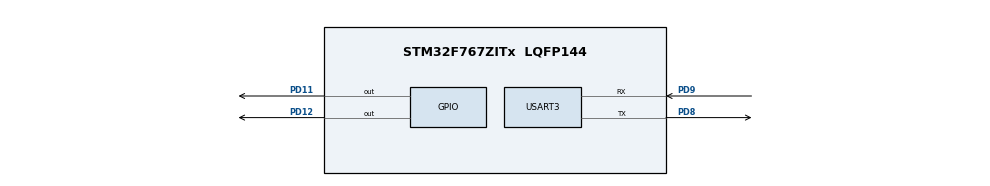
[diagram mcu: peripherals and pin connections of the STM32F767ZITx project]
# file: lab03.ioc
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CORTEX_M7.default_mode_Activation=1
Mcu.Family=STM32F7
Mcu.Name=STM32F767ZITx
Mcu.Package=LQFP144
NVIC.PriorityGroup=NVIC_PRIORITYGROUP_4
PD11.Signal=GPIO_Output
PD12.Signal=GPIO_Output
PD8.Mode=Asynchronous
PD8.Signal=USART3_TX
PD9.Mode=Asynchronous
PD9.Signal=USART3_RX
ProjectManager.HeapSize=0x200
ProjectManager.StackSize=0x400
ProjectManager.TargetToolchain=STM32CubeIDE
RCC.HSE_VALUE=25000000
RCC.HSI_VALUE=16000000
RCC.LSE_VALUE=32768
RCC.USBFreq_Value=96000000
RCC.VCOOutputFreq_Value=192000000
USART3.VirtualMode-Asynchronous=VM_ASYNC
board=custom

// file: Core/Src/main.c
/* USER CODE BEGIN Header */
/**
  ******************************************************************************
  * @file           : main.c
  * @brief          : Main program body
  ******************************************************************************
  * @attention
  *
  * Copyright (c) 2025 STMicroelectronics.
  * All rights reserved.
  *
  * This software is licensed under terms that can be found in the LICENSE file
  * in the root directory of this software component.
  * If no LICENSE file comes with this software, it is provided AS-IS.
  *
  ******************************************************************************
  */
/* USER CODE END Header */
#include "main.h"

/* USER CODE BEGIN Includes */
#include "string.h"
/* USER CODE END Includes */

UART_HandleTypeDef huart3;

/* USER CODE BEGIN PV */
uint8_t isFirst = 0;
uint8_t isFinish = 0;
/* USER CODE END PV */

void SystemClock_Config(void);
static void MPU_Config(void);
static void MX_GPIO_Init(void);
static void MX_USART3_UART_Init(void);

int main(void)
{

  /* MPU Configuration--------------------------------------------------------*/
  MPU_Config();

  /* MCU Configuration--------------------------------------------------------*/

  /* Reset of all peripherals, Initializes the Flash interface and the Systick. */
  HAL_Init();

  /* Configure the system clock */
  SystemClock_Config();

  /* Initialize all configured peripherals */
  MX_GPIO_Init();
  MX_USART3_UART_Init();
  /* USER CODE BEGIN 2 */
  void Init()
  {
  	char title[] = "Display Blinking LED PRESS (1, 2)\r\nDisplay Group Members PRESS m\r\nQuit PRESS q\r\n";
  	while(__HAL_UART_GET_FLAG(&huart3, UART_FLAG_TC)==RESET){}
  	HAL_UART_Transmit(&huart3, (uint8_t *)title, strlen(title), 100);
  }

  void WaitToRecieve(char ch[])
  {
  	  char input[] = "\tInput => ";
  	  while(__HAL_UART_GET_FLAG(&huart3, UART_FLAG_TC)==RESET){}
  	  HAL_UART_Transmit(&huart3, (uint8_t *)input, strlen(input), 100);

  	  while(__HAL_UART_GET_FLAG(&huart3, UART_FLAG_RXNE)==RESET){}
  	  HAL_UART_Receive(&huart3, (uint8_t *)ch, 1, 100);

  	  while(__HAL_UART_GET_FLAG(&huart3, UART_FLAG_TC)==RESET){}
  	  HAL_UART_Transmit(&huart3, (uint8_t *)ch, strlen(ch), 100);
  }

  void CheckInput(char ch, uint8_t *isFinish, GPIO_TypeDef *GPIOx, uint16_t GPIO_Pin1, uint16_t GPIO_Pin2)
  {
  	if(ch == 'q')
  	{
  		char quit[] = "Quit";
  		while(__HAL_UART_GET_FLAG(&huart3, UART_FLAG_TC)==RESET){}
  		HAL_UART_Transmit(&huart3, (uint8_t *)quit, strlen(quit), 100);
  		*isFinish = 1;
  	}
  	else if(ch == 'm')
  	{
  		char name[] = "66010695\r\nRachchanon Klaisuban\r\n66011397\r\nNorawitch Chunjuti\r\n";
  		while(__HAL_UART_GET_FLAG(&huart3, UART_FLAG_TC)==RESET){}
  		HAL_UART_Transmit(&huart3, (uint8_t *)name, strlen(name), 100);
  	}
  	else if(ch == '1')
  	{
  		for(int i = 0; i < 3; i++)
  		{
  			HAL_GPIO_WritePin(GPIOx, GPIO_Pin1, GPIO_PIN_SET);
  			HAL_Delay(300);
  			HAL_GPIO_WritePin(GPIOx, GPIO_Pin1, GPIO_PIN_RESET);
  			HAL_Delay(300);
  		}
  	}
  	else if(ch == '2')
  	{
  		for(int i = 0; i < 3; i++)
  		{
  			HAL_GPIO_WritePin(GPIOx, GPIO_Pin2, GPIO_PIN_SET);
  			HAL_Delay(300);
  			HAL_GPIO_WritePin(GPIOx, GPIO_Pin2, GPIO_PIN_RESET);
  			HAL_Delay(300);
  		}
  	}
  	else
  	{
  		char unknown[] = "Unknown Command\r\n";
  		while(__HAL_UART_GET_FLAG(&huart3, UART_FLAG_TC)==RESET){}
  		HAL_UART_Transmit(&huart3, (uint8_t *)unknown, strlen(unknown), 100);
  	}
  }
  /* USER CODE END 2 */

  /* Infinite loop */
  while (1)
  {

    /* USER CODE BEGIN 3 */
	  char character[5] = "?\r\n";

	  if(!isFinish)
	  {
		  if(!isFirst)
		  {
			  Init();
			  isFirst = 1;
		  }

		  WaitToRecieve(character);

		  CheckInput(character[0], &isFinish, GPIOD, GPIO_PIN_11, GPIO_PIN_12);
	  }
  }
  /* USER CODE END 3 */
}

void SystemClock_Config(void)
{
  RCC_OscInitTypeDef RCC_OscInitStruct = {0};
  RCC_ClkInitTypeDef RCC_ClkInitStruct = {0};

  /** Configure the main internal regulator output voltage
  */
  __HAL_RCC_PWR_CLK_ENABLE();
  __HAL_PWR_VOLTAGESCALING_CONFIG(PWR_REGULATOR_VOLTAGE_SCALE3);

  /** Initializes the RCC Oscillators according to the specified parameters
  * in the RCC_OscInitTypeDef structure.
  */
  RCC_OscInitStruct.OscillatorType = RCC_OSCILLATORTYPE_HSI;
  RCC_OscInitStruct.HSIState = RCC_HSI_ON;
  RCC_OscInitStruct.HSICalibrationValue = RCC_HSICALIBRATION_DEFAULT;
  RCC_OscInitStruct.PLL.PLLState = RCC_PLL_NONE;
  if (HAL_RCC_OscConfig(&RCC_OscInitStruct) != HAL_OK)
  {
    Error_Handler();
  }

  /** Initializes the CPU, AHB and APB buses clocks
  */
  RCC_ClkInitStruct.ClockType = RCC_CLOCKTYPE_HCLK|RCC_CLOCKTYPE_SYSCLK
                              |RCC_CLOCKTYPE_PCLK1|RCC_CLOCKTYPE_PCLK2;
  RCC_ClkInitStruct.SYSCLKSource = RCC_SYSCLKSOURCE_HSI;
  RCC_ClkInitStruct.AHBCLKDivider = RCC_SYSCLK_DIV1;
  RCC_ClkInitStruct.APB1CLKDivider = RCC_HCLK_DIV1;
  RCC_ClkInitStruct.APB2CLKDivider = RCC_HCLK_DIV1;

  if (HAL_RCC_ClockConfig(&RCC_ClkInitStruct, FLASH_LATENCY_0) != HAL_OK)
  {
    Error_Handler();
  }
}

static void MX_USART3_UART_Init(void)
{

  huart3.Instance = USART3;
  huart3.Init.BaudRate = 115200;
  huart3.Init.WordLength = UART_WORDLENGTH_8B;
  huart3.Init.StopBits = UART_STOPBITS_1;
  huart3.Init.Parity = UART_PARITY_NONE;
  huart3.Init.Mode = UART_MODE_TX_RX;
  huart3.Init.HwFlowCtl = UART_HWCONTROL_NONE;
  huart3.Init.OverSampling = UART_OVERSAMPLING_16;
  huart3.Init.OneBitSampling = UART_ONE_BIT_SAMPLE_DISABLE;
  huart3.AdvancedInit.AdvFeatureInit = UART_ADVFEATURE_NO_INIT;
  if (HAL_UART_Init(&huart3) != HAL_OK)
  {
    Error_Handler();
  }

}

static void MX_GPIO_Init(void)
{
  GPIO_InitTypeDef GPIO_InitStruct = {0};

  /* GPIO Ports Clock Enable */
  __HAL_RCC_GPIOD_CLK_ENABLE();

  /*Configure GPIO pin Output Level */
  HAL_GPIO_WritePin(GPIOD, GPIO_PIN_11|GPIO_PIN_12, GPIO_PIN_RESET);

  /*Configure GPIO pins : PD11 PD12 */
  GPIO_InitStruct.Pin = GPIO_PIN_11|GPIO_PIN_12;
  GPIO_InitStruct.Mode = GPIO_MODE_OUTPUT_PP;
  GPIO_InitStruct.Pull = GPIO_NOPULL;
  GPIO_InitStruct.Speed = GPIO_SPEED_FREQ_LOW;
  HAL_GPIO_Init(GPIOD, &GPIO_InitStruct);

}

 /* MPU Configuration */

void MPU_Config(void)
{
  MPU_Region_InitTypeDef MPU_InitStruct = {0};

  /* Disables the MPU */
  HAL_MPU_Disable();

  /** Initializes and configures the Region and the memory to be protected
  */
  MPU_InitStruct.Enable = MPU_REGION_ENABLE;
  MPU_InitStruct.Number = MPU_REGION_NUMBER0;
  MPU_InitStruct.BaseAddress = 0x0;
  MPU_InitStruct.Size = MPU_REGION_SIZE_4GB;
  MPU_InitStruct.SubRegionDisable = 0x87;
  MPU_InitStruct.TypeExtField = MPU_TEX_LEVEL0;
  MPU_InitStruct.AccessPermission = MPU_REGION_NO_ACCESS;
  MPU_InitStruct.DisableExec = MPU_INSTRUCTION_ACCESS_DISABLE;
  MPU_InitStruct.IsShareable = MPU_ACCESS_SHAREABLE;
  MPU_InitStruct.IsCacheable = MPU_ACCESS_NOT_CACHEABLE;
  MPU_InitStruct.IsBufferable = MPU_ACCESS_NOT_BUFFERABLE;

  HAL_MPU_ConfigRegion(&MPU_InitStruct);
  /* Enables the MPU */
  HAL_MPU_Enable(MPU_PRIVILEGED_DEFAULT);

}

void Error_Handler(void)
{
  __disable_irq();
  while (1)
  {
  }
}
